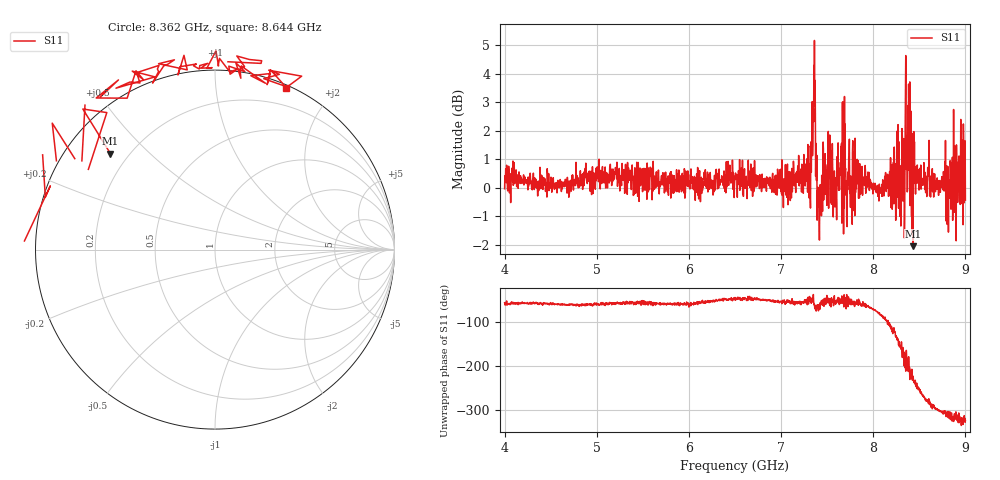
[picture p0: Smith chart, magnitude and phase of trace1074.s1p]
! Created with skrf 1.8.0 (http://scikit-rf.org).
# Hz S RI R 50.0
!freq ReS11 ImS11
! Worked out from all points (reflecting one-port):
!   1601 points, 4 GHz to 9 GHz, reference 50 ohm
!   lowest |S11| = -2.0 dB at 8.431 GHz (marker M1), VSWR 8.54, Z = 6.73 + j19.2 ohm
!   phase of S11 starts at -56 deg and turns -267 deg over the sweep
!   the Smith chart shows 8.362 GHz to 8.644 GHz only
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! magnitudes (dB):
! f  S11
! 4 GHz  0.0
! 4.625 GHz  0.0
! 5.25 GHz  -0.1
! 5.875 GHz  0.3
! 6.5 GHz  0.3
! 7.125 GHz  0.2
! 7.294 GHz  0.0
! 7.328 GHz  0.5
! 7.347 GHz  2.4
! 7.362 GHz  5.2
! 7.397 GHz  -0.6
! 7.416 GHz  -1.8
! 7.512 GHz  2.0
! 7.591 GHz  0.4
! 7.669 GHz  0.5
! 7.703 GHz  0.3
! 7.75 GHz  -0.1
! 8.219 GHz  0.9
! 8.253 GHz  -0.1
! 8.316 GHz  1.8
! 8.331 GHz  -0.2
! 8.347 GHz  2.2
! 8.375 GHz  0.8
! 8.431 GHz  -2.0
! 8.759 GHz  0.3
! 8.806 GHz  -0.8
! 8.956 GHz  0.1
! 9 GHz  -0.4
